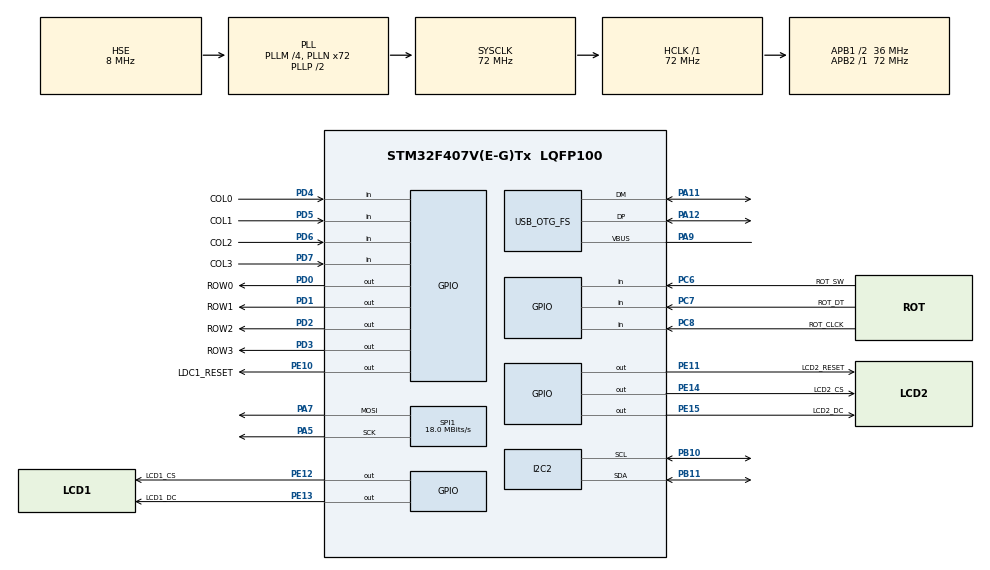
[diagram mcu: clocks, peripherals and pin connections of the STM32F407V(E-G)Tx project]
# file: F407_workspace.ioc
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Dma.Request0=SPI1_TX
Dma.SPI1_TX.0.Direction=DMA_MEMORY_TO_PERIPH
Dma.SPI1_TX.0.FIFOMode=DMA_FIFOMODE_DISABLE
Dma.SPI1_TX.0.Instance=DMA2_Stream3
Dma.SPI1_TX.0.MemDataAlignment=DMA_MDATAALIGN_BYTE
Dma.SPI1_TX.0.MemInc=DMA_MINC_ENABLE
Dma.SPI1_TX.0.Mode=DMA_NORMAL
Dma.SPI1_TX.0.PeriphDataAlignment=DMA_PDATAALIGN_BYTE
Dma.SPI1_TX.0.PeriphInc=DMA_PINC_DISABLE
Dma.SPI1_TX.0.Priority=DMA_PRIORITY_LOW
I2C2.I2C_Mode=I2C_Fast
Mcu.Family=STM32F4
Mcu.Name=STM32F407V(E-G)Tx
Mcu.Package=LQFP100
NVIC.DMA2_Stream3_IRQn=true\:0\:0\:false\:false\:true\:false\:true\:true
NVIC.I2C2_ER_IRQn=true\:0\:0\:false\:false\:true\:true\:true\:true
NVIC.I2C2_EV_IRQn=true\:0\:0\:false\:false\:true\:true\:true\:true
NVIC.OTG_FS_IRQn=true\:0\:0\:false\:false\:true\:false\:true\:true
NVIC.PriorityGroup=NVIC_PRIORITYGROUP_4
NVIC.TIM4_IRQn=true\:0\:0\:false\:false\:true\:true\:true\:true
NVIC.TIM6_DAC_IRQn=true\:0\:0\:false\:false\:true\:true\:true\:true
NVIC.TIM7_IRQn=true\:0\:0\:false\:false\:true\:true\:true\:true
PA11.Mode=Device_Only
PA11.Signal=USB_OTG_FS_DM
PA12.Mode=Device_Only
PA12.Signal=USB_OTG_FS_DP
PA5.Mode=TX_Only_Simplex_Unidirect_Master
PA5.Signal=SPI1_SCK
PA7.Mode=TX_Only_Simplex_Unidirect_Master
PA7.Signal=SPI1_MOSI
PA9.Mode=Activate_VBUS
PA9.Signal=USB_OTG_FS_VBUS
PB10.Mode=I2C
PB10.Signal=I2C2_SCL
PB11.Mode=I2C
PB11.Signal=I2C2_SDA
PC6.GPIO_Label=ROT_SW
PC6.Signal=GPIO_Input
PC7.GPIO_Label=ROT_DT
PC7.Signal=GPIO_Input
PC8.GPIO_Label=ROT_CLCK
PC8.Signal=GPIO_Input
PD0.GPIO_Label=ROW0
PD0.Signal=GPIO_Output
PD1.GPIO_Label=ROW1
PD1.Signal=GPIO_Output
PD2.GPIO_Label=ROW2
PD2.Signal=GPIO_Output
PD3.GPIO_Label=ROW3
PD3.Signal=GPIO_Output
PD4.GPIO_Label=COL0
PD4.GPIO_PuPd=GPIO_NOPULL
PD4.Signal=GPIO_Input
PD5.GPIO_Label=COL1
PD5.GPIO_PuPd=GPIO_NOPULL
PD5.Signal=GPIO_Input
PD6.GPIO_Label=COL2
PD6.GPIO_PuPd=GPIO_NOPULL
PD6.Signal=GPIO_Input
PD7.GPIO_Label=COL3
PD7.GPIO_PuPd=GPIO_NOPULL
PD7.Signal=GPIO_Input
PE10.GPIO_Label=LDC1_RESET
PE10.Signal=GPIO_Output
PE11.GPIO_Label=LCD2_RESET
PE11.Signal=GPIO_Output
PE12.GPIO_Label=LCD1_CS
PE12.Signal=GPIO_Output
PE13.GPIO_Label=LCD1_DC
PE13.Signal=GPIO_Output
PE14.GPIO_Label=LCD2_CS
PE14.Signal=GPIO_Output
PE15.GPIO_Label=LCD2_DC
PE15.Signal=GPIO_Output
PH0-OSC_IN.Mode=HSE-External-Clock-Source
PH0-OSC_IN.Signal=RCC_OSC_IN
PH1-OSC_OUT.Mode=HSE-External-Clock-Source
PH1-OSC_OUT.Signal=RCC_OSC_OUT
ProjectManager.HeapSize=0x20000
ProjectManager.StackSize=0x400
ProjectManager.TargetToolchain=STM32CubeIDE
RCC.48MHZClocksFreq_Value=48000000
RCC.AHBFreq_Value=72000000
RCC.APB1CLKDivider=RCC_HCLK_DIV2
RCC.APB1Freq_Value=36000000
RCC.APB1TimFreq_Value=72000000
RCC.APB2Freq_Value=72000000
RCC.APB2TimFreq_Value=72000000
RCC.CortexFreq_Value=72000000
RCC.HCLKFreq_Value=72000000
RCC.HSE_VALUE=8000000
RCC.HSI_VALUE=16000000
RCC.LSE_VALUE=32768
RCC.PLLM=4
RCC.PLLN=72
RCC.PLLQ=3
RCC.SYSCLKFreq_VALUE=72000000
RCC.SYSCLKSource=RCC_SYSCLKSOURCE_PLLCLK
RCC.VCOOutputFreq_Value=144000000
SPI1.BaudRatePrescaler=SPI_BAUDRATEPRESCALER_4
SPI1.CalculateBaudRate=18.0 MBits/s
SPI1.Direction=SPI_DIRECTION_2LINES
SPI1.Mode=SPI_MODE_MASTER
SPI1.VirtualType=VM_MASTER
TIM4.Period=100-1
TIM4.Prescaler=160-1
TIM6.Period=20-1
TIM6.Prescaler=1600-1
TIM7.Period=2000 - 1
TIM7.Prescaler=36000 - 1
USB_DEVICE.CLASS_NAME_FS=HID
USB_DEVICE.PRODUCT_STRING_HID_FS=ECE477
USB_DEVICE.USBD_MAX_STR_DESC_SIZ-HID_FS=1024
USB_DEVICE.VirtualMode-HID_FS=Hid
USB_DEVICE.VirtualModeFS=Hid_FS
USB_OTG_FS.Sof_enable=DISABLE
USB_OTG_FS.VirtualMode=Device_Only
USB_OTG_FS.low_power_enable=DISABLE
USB_OTG_FS.lpm_enable=ENABLE
VP_TIM4_VS_ClockSourceINT.Mode=Internal
VP_TIM6_VS_ClockSourceINT.Mode=Enable_Timer
VP_TIM7_VS_ClockSourceINT.Mode=Enable_Timer
VP_USB_DEVICE_VS_USB_DEVICE_HID_FS.Mode=HID_FS
board=custom

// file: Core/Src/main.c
/* USER CODE BEGIN Header */
/**
  ******************************************************************************
  * @file           : main.c
  * @brief          : Main program body
  ******************************************************************************
  * @attention
  *
  * Copyright (c) 2022 STMicroelectronics.
  * All rights reserved.
  *
  * This software is licensed under terms that can be found in the LICENSE file
  * in the root directory of this software component.
  * If no LICENSE file comes with this software, it is provided AS-IS.
  *
  ******************************************************************************
  */
/* USER CODE END Header */
#include "main.h"
#include "usb_device.h"

/* USER CODE BEGIN Includes */

#include "usbd_hid.h"
#include "keycodes.h"
#include "ILI9341_GFX.h"
#include "ILI9341_STM32_Driver.h"

/* USER CODE END Includes */

/* USER CODE BEGIN PD */
#define KEYCODE_LIMIT 6
#define GPIOEX_ADDR (0x20 << 1)

/* USER CODE END PD */

I2C_HandleTypeDef hi2c2;

SPI_HandleTypeDef hspi1;
DMA_HandleTypeDef hdma_spi1_tx;

TIM_HandleTypeDef htim4;
TIM_HandleTypeDef htim6;
TIM_HandleTypeDef htim7;

/* USER CODE BEGIN PV */

int lcd_counter;
int turn_counter;

// WPM Counters
unsigned int charCount = 0;
unsigned int charsInCycle = 0;
unsigned int numCycles = 0;
unsigned int dryCycles = 0;
float wpm = 0;
int writeScreen = 1;

// rotary direction
int currentStateCLK;
int lastStateCLK;
int currentStateDT;
int rotLock;

// adding keypresses to USB buffer
int keycodeNum;

// keypad scanning
int row;

/* keyccodes for:
   7 8 9 [space]
   4 5 6 w
   1 2 3 .
   < ^ v >
*/
const uint16_t keys[5][4] =  {{KEY_7, KEY_8, KEY_9, KEY_SHIFT},
                             {KEY_4, KEY_5, KEY_6, KEY_W},
                             {KEY_1, KEY_2, KEY_3, KEY_PERIOD},
                             {KEY_LEFT, KEY_UP, KEY_DOWN, KEY_RIGHT}};

char keypresses[5][4] = {{0, 0, 0, 0},
                         {0, 0, 0, 0},
                         {0, 0, 0, 0},
                         {0, 0, 0, 0},
                         {0, 0, 0, 0}};

/* keycodes for:
   1 2 3 a
   4 5 6 b
   7 8 9 c
   * 0 # d
*/
const uint16_t keys_2[5][4] =  {{KEY_A, KEY_3, KEY_2, KEY_1},
                               {KEY_B, KEY_6, KEY_5, KEY_4},
                               {KEY_C, KEY_9, KEY_8, KEY_7},
                               {KEY_D, KEY_POUND, KEY_0, KEY_ASTERISK}};

char keypresses_2[4][4] = {{0, 0, 0, 0},
                           {0, 0, 0, 0},
                           {0, 0, 0, 0},
                           {0, 0, 0, 0}};

// rotary encoder keypresses
const uint16_t rotary_keys[3] = {KEY_MUTE, KEY_VOLDOWN, KEY_VOLUP};

char rotary_keypresses[3] = {0, 0, 0};

extern USBD_HandleTypeDef hUsbDeviceFS;

typedef struct
{
	uint8_t MODIFIER;
	uint8_t RESERVED;
	uint8_t KEYCODE1;
	uint8_t KEYCODE2;
	uint8_t KEYCODE3;
	uint8_t KEYCODE4;
	uint8_t KEYCODE5;
	uint8_t KEYCODE6;
} keyboardHID;

keyboardHID keyboardhid = {0,0,0,0,0,0,0,0};

/* USER CODE END PV */

void SystemClock_Config(void);
static void MX_GPIO_Init(void);
static void MX_DMA_Init(void);
static void MX_TIM4_Init(void);
static void MX_TIM6_Init(void);
static void MX_I2C2_Init(void);
static void MX_SPI1_Init(void);
static void MX_TIM7_Init(void);
/* USER CODE BEGIN PFP */

// local keypad scanning
void scan_keypad();
void set_rows();
int get_cols();

// rotary encoder scanning
void scan_rotary();

// usb functions
void add_keypress(char key);
void record_keys();

// LCD functions
void switch_lcd();

/* USER CODE END PFP */

/* USER CODE BEGIN 0 */

/* Local Keypad Scanning */
void scan_keypad() {
  set_rows();

  // read the columns
  int all_cols = get_cols();
  int local_cols = all_cols & 0x0F;
  int expander_cols = (all_cols & 0xF0) >> 4;

  // scan local cols
  for(int i = 0; i < 4; i++) {
    if(local_cols & (1 << i)) {
    	if (keypresses[row][i] != 1) {
    		keypresses[row][i] = 1;
    	    // WPM timer not enabled
    	    if (!(TIM1->CR1 && TIM_CR1_CEN)) {
    	    	HAL_TIM_Base_Start_IT(&htim7);
    	    }
    	    charCount++;
    	    charsInCycle++;
    	}
    }
    else {
      keypresses[row][i] = 0;
    }
  }

  // scan expander cols
  for(int i = 0; i < 4; i++) {
    if(expander_cols & (1 << i)) {
      if (keypresses_2[row][i] != 1) {
    	  keypresses_2[row][i] = 1;
    	  // WPM timer not enabled
    	  if (!(TIM1->CR1 && TIM_CR1_CEN)) {
    		  HAL_TIM_Base_Start_IT(&htim7);
    	  }
    	  charCount++;
    	  charsInCycle++;
      }
    }
    else {
      keypresses_2[row][i] = 0;
    }

  }

}

void set_rows() {
  // update row value
  row = (row + 1) % 4;
  // set all rows to high on local keypad
  HAL_GPIO_WritePin(GPIOD, ROW0_Pin, GPIO_PIN_SET);
  HAL_GPIO_WritePin(GPIOD, ROW1_Pin, GPIO_PIN_SET);
  HAL_GPIO_WritePin(GPIOD, ROW2_Pin, GPIO_PIN_SET);
  HAL_GPIO_WritePin(GPIOD, ROW3_Pin, GPIO_PIN_SET);

  // use global variable row to set the correct row to low
  switch(row) {
    case 0:
      HAL_GPIO_WritePin(GPIOD, ROW0_Pin, GPIO_PIN_RESET);
      break;
    case 1:
      HAL_GPIO_WritePin(GPIOD, ROW1_Pin, GPIO_PIN_RESET);
      break;
    case 2:
      HAL_GPIO_WritePin(GPIOD, ROW2_Pin, GPIO_PIN_RESET);
      break;
    case 3:
      HAL_GPIO_WritePin(GPIOD, ROW3_Pin, GPIO_PIN_RESET);
      break;
  }

  // set current row to low and others to high on gpio expander keypad
  uint8_t data[2] = {0x0A, ~( 8 >> row )};
  HAL_I2C_Master_Transmit(&hi2c2, GPIOEX_ADDR, data, 2, 1000);

}

int get_cols() {
  // get the value of all columns as one int from the GPIO register
  // PD7-4
  int local_cols = ~(GPIOD->IDR >> 4) & 0xF;

  // read the GPIO expander columns
  uint8_t data[1] = {0x09};
  HAL_I2C_Master_Transmit(&hi2c2, GPIOEX_ADDR, data, 1, 1000);
  HAL_I2C_Master_Receive(&hi2c2, GPIOEX_ADDR, data, 1, 1000);

  int expander_cols = data[0] & 0xF0;

  return local_cols | expander_cols;
}
/* END Local Keypad Scanning */

/* Rotary Encoder Scanning */
void scan_rotary() {
  currentStateCLK = HAL_GPIO_ReadPin(GPIOC, ROT_CLCK_Pin);

  // if CLK pin has changed, then the rotary encoder has turned
  if (currentStateCLK != lastStateCLK && rotLock == 0 ) {// && rotLock == 0) {
    // if the DT state is different, then the encoder is rotating counter-clockwise
    currentStateDT = HAL_GPIO_ReadPin(GPIOC, ROT_DT_Pin);

    if (currentStateDT != currentStateCLK) {
      // Volume Down
      rotary_keypresses[1] = 1;
      turn_counter--;
    }

    // otherwise, it is turning clockwise
    else if (currentStateDT == currentStateCLK) {
      // Volume Up
      rotary_keypresses[2] = 1;
      turn_counter++;
    }
    rotLock++;

  }
  else if (rotLock == 0) {
	  rotary_keypresses[1] = 0;
	  rotary_keypresses[2] = 0;
  }

  lastStateCLK = currentStateCLK;

  // rotLock allows the rotary encoder's inputs to settle over a few extra clock cycles
  if(rotLock != 0) {
    rotLock = (rotLock + 1) % 150;
  }

  // if the state is low (default is high), turn toggle the LED
  if (HAL_GPIO_ReadPin(GPIOC, ROT_SW_Pin) == 0) {
    // Volume Mute Toggle
	  rotary_keypresses[0] = 1;
  }
  else {
	  rotary_keypresses[0] = 0;
  }

}
/* END Rotary Encoder Scanning */

/* USB Functions */
void record_keys() {
  // reset keyboardhid to 0
  memset(&keyboardhid, 0, sizeof(keyboardHID));
  keycodeNum = 1;

  // Add local keypresses
  for(int i = 0; i < 4; i++) {
	  for(int j = 0; j < 4; j++) {
		  if(keypresses[i][j] == 1) {
			  add_keypress(keys[i][j]);
	    }
	  }
  }

  // Add GPIO Expander keypresses
  for(int i = 0; i < 4; i++) {
	  for(int j = 0; j < 4; j++) {
		  if(keypresses_2[i][j] == 1) {
			  add_keypress(keys_2[i][j]);
		  }
	  }
  }

  // Add Rotary Encoder keypresses
  for(int i = 0; i < 4; i++) {
	  if(rotary_keypresses[i] == 1)
		  add_keypress(rotary_keys[i]);
  }

}

void add_keypress(char key) {

	if(key == (char)KEY_SHIFT) {
		keyboardhid.MODIFIER = 2;
		return;
	}

	switch(keycodeNum) {
			case 1:
			  keyboardhid.KEYCODE1 = key;
			  break;
			case 2:
			  keyboardhid.KEYCODE2 = key;
			  break;
			case 3:
			  keyboardhid.KEYCODE3 = key;
			  break;
			case 4:
			  keyboardhid.KEYCODE4 = key;
			  break;
			case 5:
			  keyboardhid.KEYCODE5 = key;
			  break;
			case 6:
			  keyboardhid.KEYCODE6 = key;
			  break;
			default:
				break;
		  }
		  keycodeNum++;

}
/* END USB Functions */

/* LCD Functions */
void switch_lcd() {
  // switch LCD_*_PIN and LCD_*_PORT between LCD1_* and LCD2_*
  if(LCD_CS_PIN == LCD2_CS_PIN) {
	  LCD_CS_PORT = LCD1_CS_PORT;
	  LCD_CS_PIN = LCD1_CS_PIN;
	  LCD_DC_PORT = LCD1_DC_PORT;
	  LCD_DC_PIN = LCD1_DC_PIN;
	  LCD_RST_PORT = LCD1_RST_PORT;
	  LCD_RST_PIN = LCD1_RST_PIN;
  }
  else {

    LCD_CS_PORT = LCD2_CS_PORT;
	LCD_CS_PIN = LCD2_CS_PIN;
	LCD_DC_PORT = LCD2_DC_PORT;
	LCD_DC_PIN = LCD2_DC_PIN;
	LCD_RST_PORT = LCD2_RST_PORT;
	LCD_RST_PIN = LCD2_RST_PIN;
  }
}

/* END LCD Functions */

/* USER CODE END 0 */

int main(void)
{

  /* MCU Configuration--------------------------------------------------------*/

  /* Reset of all peripherals, Initializes the Flash interface and the Systick. */
  HAL_Init();

  /* Configure the system clock */
  SystemClock_Config();

  /* Initialize all configured peripherals */
  MX_GPIO_Init();
  MX_DMA_Init();
  MX_TIM4_Init();
  MX_TIM6_Init();
  MX_USB_DEVICE_Init();
  MX_I2C2_Init();
  MX_SPI1_Init();
  MX_TIM7_Init();
  /* USER CODE BEGIN 2 */

  // Initialize the LCDs
  ILI9341_Init();
  ILI9341_SetRotation(SCREEN_VERTICAL_1);
  ILI9341_FillScreen(WHITE);

  switch_lcd();
  ILI9341_Init();
  ILI9341_SetRotation(SCREEN_VERTICAL_1);
  ILI9341_FillScreen(WHITE);

  char writeBuff[20];
  sprintf(writeBuff, "Words");
  ILI9341_DrawText(writeBuff, FONT5, 25, 85, BLACK, WHITE);
  sprintf(writeBuff, "Per");
  ILI9341_DrawText(writeBuff, FONT5, 25, 135, BLACK, WHITE);
  sprintf(writeBuff, "Minute:");
  ILI9341_DrawText(writeBuff, FONT5, 25, 185, BLACK, WHITE);

  switch_lcd();
  sprintf(writeBuff, "Number of turns: ");
  ILI9341_DrawText(writeBuff, FONT6, 25, 110, BLACK, WHITE);
  switch_lcd();

  // start the timer interrupt
  HAL_TIM_Base_Start_IT(&htim4);
  HAL_TIM_Base_Start_IT(&htim6);

  // init counter variables
  row = 0;
  keycodeNum = 1;
  lastStateCLK = 0;
  rotLock = 0;

  lcd_counter = 0;
  turn_counter = 1;

  /* USER CODE END 2 */

  /* Infinite loop */
  /* USER CODE BEGIN WHILE */
  char buffer1[10];
  char buffer2[10];

  while (1)
  {
	  //ILI9341_FillScreen(WHITE);

	  // draw the counter to the lcd
	  if (writeScreen) {
		  sprintf(buffer1, "%-3d", (int)wpm);
		  ILI9341_DrawText(buffer1, FONT5, 	165, 185, BLACK, WHITE);
		  writeScreen = 0;
	  }

	  switch_lcd();

	  //ILI9341_FillScreen(WHITE);

	  // draw the counter to the lcd
	  sprintf(buffer2, "%d", turn_counter);
	  ILI9341_DrawText(buffer2, FONT6, 190, 110, BLACK, WHITE);

	  switch_lcd();

    /* USER CODE END WHILE */

  }
}

void SystemClock_Config(void)
{
  RCC_OscInitTypeDef RCC_OscInitStruct = {0};
  RCC_ClkInitTypeDef RCC_ClkInitStruct = {0};

  /** Configure the main internal regulator output voltage
  */
  __HAL_RCC_PWR_CLK_ENABLE();
  __HAL_PWR_VOLTAGESCALING_CONFIG(PWR_REGULATOR_VOLTAGE_SCALE1);

  /** Initializes the RCC Oscillators according to the specified parameters
  * in the RCC_OscInitTypeDef structure.
  */
  RCC_OscInitStruct.OscillatorType = RCC_OSCILLATORTYPE_HSE;
  RCC_OscInitStruct.HSEState = RCC_HSE_BYPASS;
  RCC_OscInitStruct.PLL.PLLState = RCC_PLL_ON;
  RCC_OscInitStruct.PLL.PLLSource = RCC_PLLSOURCE_HSE;
  RCC_OscInitStruct.PLL.PLLM = 4;
  RCC_OscInitStruct.PLL.PLLN = 72;
  RCC_OscInitStruct.PLL.PLLP = RCC_PLLP_DIV2;
  RCC_OscInitStruct.PLL.PLLQ = 3;
  if (HAL_RCC_OscConfig(&RCC_OscInitStruct) != HAL_OK)
  {
    Error_Handler();
  }

  /** Initializes the CPU, AHB and APB buses clocks
  */
  RCC_ClkInitStruct.ClockType = RCC_CLOCKTYPE_HCLK|RCC_CLOCKTYPE_SYSCLK
                              |RCC_CLOCKTYPE_PCLK1|RCC_CLOCKTYPE_PCLK2;
  RCC_ClkInitStruct.SYSCLKSource = RCC_SYSCLKSOURCE_PLLCLK;
  RCC_ClkInitStruct.AHBCLKDivider = RCC_SYSCLK_DIV1;
  RCC_ClkInitStruct.APB1CLKDivider = RCC_HCLK_DIV2;
  RCC_ClkInitStruct.APB2CLKDivider = RCC_HCLK_DIV1;

  if (HAL_RCC_ClockConfig(&RCC_ClkInitStruct, FLASH_LATENCY_2) != HAL_OK)
  {
    Error_Handler();
  }
}

static void MX_I2C2_Init(void)
{

  hi2c2.Instance = I2C2;
  hi2c2.Init.ClockSpeed = 400000;
  hi2c2.Init.DutyCycle = I2C_DUTYCYCLE_2;
  hi2c2.Init.OwnAddress1 = 0;
  hi2c2.Init.AddressingMode = I2C_ADDRESSINGMODE_7BIT;
  hi2c2.Init.DualAddressMode = I2C_DUALADDRESS_DISABLE;
  hi2c2.Init.OwnAddress2 = 0;
  hi2c2.Init.GeneralCallMode = I2C_GENERALCALL_DISABLE;
  hi2c2.Init.NoStretchMode = I2C_NOSTRETCH_DISABLE;
  if (HAL_I2C_Init(&hi2c2) != HAL_OK)
  {
    Error_Handler();
  }
  /* USER CODE BEGIN I2C2_Init 2 */

  uint8_t iodir[2] = { 0x00 , 0xf0 };     // set pins 0-3 output and 4-7 as input
  HAL_I2C_Master_Transmit(&hi2c2, GPIOEX_ADDR, iodir, 2, HAL_MAX_DELAY);
  uint8_t gppu[2] = { 0x06, 0xf0 };       // enable pull up resistors for pins 4-7
  HAL_I2C_Master_Transmit(&hi2c2, GPIOEX_ADDR, gppu, 2, HAL_MAX_DELAY);
  uint8_t ipol[2] = { 0x01, 0xf0 };       // enable reverse for pins 4-7
  HAL_I2C_Master_Transmit(&hi2c2, GPIOEX_ADDR, ipol, 2, HAL_MAX_DELAY);

  /* USER CODE END I2C2_Init 2 */

}

static void MX_SPI1_Init(void)
{

  /* SPI1 parameter configuration*/
  hspi1.Instance = SPI1;
  hspi1.Init.Mode = SPI_MODE_MASTER;
  hspi1.Init.Direction = SPI_DIRECTION_2LINES;
  hspi1.Init.DataSize = SPI_DATASIZE_8BIT;
  hspi1.Init.CLKPolarity = SPI_POLARITY_LOW;
  hspi1.Init.CLKPhase = SPI_PHASE_1EDGE;
  hspi1.Init.NSS = SPI_NSS_SOFT;
  hspi1.Init.BaudRatePrescaler = SPI_BAUDRATEPRESCALER_4;
  hspi1.Init.FirstBit = SPI_FIRSTBIT_MSB;
  hspi1.Init.TIMode = SPI_TIMODE_DISABLE;
  hspi1.Init.CRCCalculation = SPI_CRCCALCULATION_DISABLE;
  hspi1.Init.CRCPolynomial = 10;
  if (HAL_SPI_Init(&hspi1) != HAL_OK)
  {
    Error_Handler();
  }

}

static void MX_TIM4_Init(void)
{

  TIM_ClockConfigTypeDef sClockSourceConfig = {0};
  TIM_MasterConfigTypeDef sMasterConfig = {0};

  htim4.Instance = TIM4;
  htim4.Init.Prescaler = 160-1;
  htim4.Init.CounterMode = TIM_COUNTERMODE_UP;
  htim4.Init.Period = 100-1;
  htim4.Init.ClockDivision = TIM_CLOCKDIVISION_DIV1;
  htim4.Init.AutoReloadPreload = TIM_AUTORELOAD_PRELOAD_DISABLE;
  if (HAL_TIM_Base_Init(&htim4) != HAL_OK)
  {
    Error_Handler();
  }
  sClockSourceConfig.ClockSource = TIM_CLOCKSOURCE_INTERNAL;
  if (HAL_TIM_ConfigClockSource(&htim4, &sClockSourceConfig) != HAL_OK)
  {
    Error_Handler();
  }
  sMasterConfig.MasterOutputTrigger = TIM_TRGO_RESET;
  sMasterConfig.MasterSlaveMode = TIM_MASTERSLAVEMODE_DISABLE;
  if (HAL_TIMEx_MasterConfigSynchronization(&htim4, &sMasterConfig) != HAL_OK)
  {
    Error_Handler();
  }

}

static void MX_TIM6_Init(void)
{

  TIM_MasterConfigTypeDef sMasterConfig = {0};

  htim6.Instance = TIM6;
  htim6.Init.Prescaler = 1600-1;
  htim6.Init.CounterMode = TIM_COUNTERMODE_UP;
  htim6.Init.Period = 20-1;
  htim6.Init.AutoReloadPreload = TIM_AUTORELOAD_PRELOAD_DISABLE;
  if (HAL_TIM_Base_Init(&htim6) != HAL_OK)
  {
    Error_Handler();
  }
  sMasterConfig.MasterOutputTrigger = TIM_TRGO_RESET;
  sMasterConfig.MasterSlaveMode = TIM_MASTERSLAVEMODE_DISABLE;
  if (HAL_TIMEx_MasterConfigSynchronization(&htim6, &sMasterConfig) != HAL_OK)
  {
    Error_Handler();
  }

}

static void MX_TIM7_Init(void)
{

  TIM_MasterConfigTypeDef sMasterConfig = {0};

  htim7.Instance = TIM7;
  htim7.Init.Prescaler = 36000 - 1;
  htim7.Init.CounterMode = TIM_COUNTERMODE_UP;
  htim7.Init.Period = 2000 - 1;
  htim7.Init.AutoReloadPreload = TIM_AUTORELOAD_PRELOAD_DISABLE;
  if (HAL_TIM_Base_Init(&htim7) != HAL_OK)
  {
    Error_Handler();
  }
  sMasterConfig.MasterOutputTrigger = TIM_TRGO_RESET;
  sMasterConfig.MasterSlaveMode = TIM_MASTERSLAVEMODE_DISABLE;
  if (HAL_TIMEx_MasterConfigSynchronization(&htim7, &sMasterConfig) != HAL_OK)
  {
    Error_Handler();
  }

}

static void MX_DMA_Init(void)
{

  /* DMA controller clock enable */
  __HAL_RCC_DMA2_CLK_ENABLE();

  /* DMA interrupt init */
  /* DMA2_Stream3_IRQn interrupt configuration */
  HAL_NVIC_SetPriority(DMA2_Stream3_IRQn, 0, 0);
  HAL_NVIC_EnableIRQ(DMA2_Stream3_IRQn);

}

static void MX_GPIO_Init(void)
{
  GPIO_InitTypeDef GPIO_InitStruct = {0};

  /* GPIO Ports Clock Enable */
  __HAL_RCC_GPIOH_CLK_ENABLE();
  __HAL_RCC_GPIOA_CLK_ENABLE();
  __HAL_RCC_GPIOE_CLK_ENABLE();
  __HAL_RCC_GPIOB_CLK_ENABLE();
  __HAL_RCC_GPIOC_CLK_ENABLE();
  __HAL_RCC_GPIOD_CLK_ENABLE();

  /*Configure GPIO pin Output Level */
  HAL_GPIO_WritePin(GPIOE, LDC1_RESET_Pin|LCD2_RESET_Pin|LCD1_CS_Pin|LCD1_DC_Pin
                          |LCD2_CS_Pin|LCD2_DC_Pin, GPIO_PIN_RESET);

  /*Configure GPIO pin Output Level */
  HAL_GPIO_WritePin(GPIOD, ROW0_Pin|ROW1_Pin|ROW2_Pin|ROW3_Pin, GPIO_PIN_RESET);

  /*Configure GPIO pins : LDC1_RESET_Pin LCD2_RESET_Pin LCD1_CS_Pin LCD1_DC_Pin
                           LCD2_CS_Pin LCD2_DC_Pin */
  GPIO_InitStruct.Pin = LDC1_RESET_Pin|LCD2_RESET_Pin|LCD1_CS_Pin|LCD1_DC_Pin
                          |LCD2_CS_Pin|LCD2_DC_Pin;
  GPIO_InitStruct.Mode = GPIO_MODE_OUTPUT_PP;
  GPIO_InitStruct.Pull = GPIO_NOPULL;
  GPIO_InitStruct.Speed = GPIO_SPEED_FREQ_LOW;
  HAL_GPIO_Init(GPIOE, &GPIO_InitStruct);

  /*Configure GPIO pins : ROT_SW_Pin ROT_DT_Pin ROT_CLCK_Pin */
  GPIO_InitStruct.Pin = ROT_SW_Pin|ROT_DT_Pin|ROT_CLCK_Pin;
  GPIO_InitStruct.Mode = GPIO_MODE_INPUT;
  GPIO_InitStruct.Pull = GPIO_NOPULL;
  HAL_GPIO_Init(GPIOC, &GPIO_InitStruct);

  /*Configure GPIO pins : ROW0_Pin ROW1_Pin ROW2_Pin ROW3_Pin */
  GPIO_InitStruct.Pin = ROW0_Pin|ROW1_Pin|ROW2_Pin|ROW3_Pin;
  GPIO_InitStruct.Mode = GPIO_MODE_OUTPUT_PP;
  GPIO_InitStruct.Pull = GPIO_NOPULL;
  GPIO_InitStruct.Speed = GPIO_SPEED_FREQ_LOW;
  HAL_GPIO_Init(GPIOD, &GPIO_InitStruct);

  /*Configure GPIO pins : COL0_Pin COL1_Pin COL2_Pin COL3_Pin */
  GPIO_InitStruct.Pin = COL0_Pin|COL1_Pin|COL2_Pin|COL3_Pin;
  GPIO_InitStruct.Mode = GPIO_MODE_INPUT;
  GPIO_InitStruct.Pull = GPIO_NOPULL;
  HAL_GPIO_Init(GPIOD, &GPIO_InitStruct);

}

/* USER CODE BEGIN 4 */

// Callback: timer has reset
void HAL_TIM_PeriodElapsedCallback(TIM_HandleTypeDef *htim) {

	// Send USB data
	if (htim == &htim4) {
	    // send HID report
		record_keys();
		USBD_HID_SendReport(&hUsbDeviceFS, (uint8_t*) &keyboardhid, sizeof(keyboardhid));

	}

	// Keypad scanning
	else if (htim == &htim6) {

		/* Row-Col Scanning */
		scan_keypad();

		/* Rotary Encoder */
		scan_rotary();
	}

	// WPM Calculator
	else if (htim == &htim7) {
		// check to see if any keys pressed
		if (charsInCycle == 0) {
			dryCycles++;
			// shut down if 5 cycles with no presses
			if (dryCycles == 5) {
				charCount = 0;
				charsInCycle = 0;
				dryCycles = 0;
				numCycles = 0;
				HAL_TIM_Base_Stop_IT(&htim7);
			}
		}
		// calculate wpm
		numCycles++;
		wpm = (charCount / 5.0f) / ((1.0f * numCycles) / 60.0f);
		charsInCycle = 0;
		writeScreen = 1;
	}
}

/* USER CODE END 4 */

void Error_Handler(void)
{
  __disable_irq();
  while (1)
  {
  }
}
